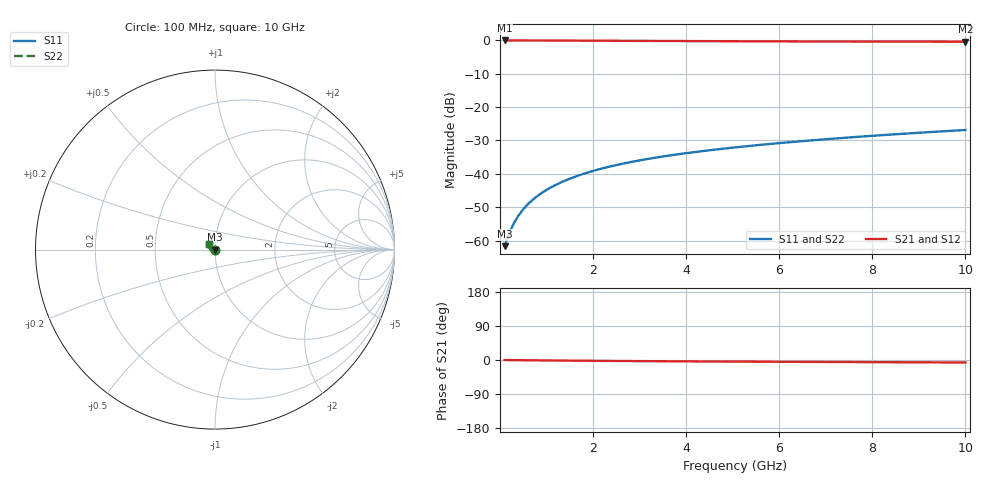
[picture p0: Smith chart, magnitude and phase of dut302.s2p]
! Touchstone file exported from HFSS 2024.1.0
!  File:  C:/UserFiles/LocalFiles/RDL_TSV_Batchsim/temp_TSV1_302_1779614857.aedt
!  Generated:  05:34:21 PM May 24, 2026
!  Design:  TSV1
!  Project:  temp_TSV1_302_1779614857
!  Setup:  Setup1
!  Solution:  Sweep
! Variables:
!  dtsv = 5.18um
!  hbump = 3um
!  htsv = 98.82um
!  lrdl = 252.1521522um
!  p = 40
!  p1 = 48.7um
!  t = 500um
!  trdl = 3um
!  wrdl = 24.89489489um
# GHz S MA R 50.000000
! Terminal data exported
! Port[1] = TSV22_T1
! Port[2] = TSV22_T2
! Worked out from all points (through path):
!   100 points, 100 MHz to 10 GHz, reference 50 ohm
!   highest |S21| = -0.01 dB at 100 MHz (marker M1); lowest = -0.4 dB at 10 GHz (marker M2)
!   lowest |S11| = -61.7 dB at 100 MHz (marker M3), VSWR 1.00, Z = 50.1 - j0.059 ohm
!   |S11| at or under -10 dB: start of sweep to end of sweep
!   |S22| runs from -61.7 to -26.9 dB; largest |S21 - S12| = 3.2e-15
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0.1  0.0008228 -45.8  0.9994 -0.1  0.9994 -0.1  0.0008228 -45.8
! Gamma 0 0 0 0
! Port Impedance 50 0 50 0
0.2  0.001295 -66.9  0.9993 -0.2  0.9993 -0.2  0.001295 -66.9
0.3  0.001828 -77.7  0.9992 -0.4  0.9992 -0.4  0.001828 -77.7
0.4  0.002379 -84.7  0.999 -0.5  0.999 -0.5  0.002379 -84.7
0.5  0.002938 -89.9  0.9988 -0.6  0.9988 -0.6  0.002938 -89.9
0.6  0.003499 -94.1  0.9985 -0.7  0.9985 -0.7  0.003499 -94.1
0.7  0.00406 -97.8  0.9982 -0.8  0.9982 -0.8  0.00406 -97.8
0.8  0.00462 -101.2  0.9978 -0.9  0.9978 -0.9  0.00462 -101.2
0.9  0.005178 -104.3  0.9975 -1.0  0.9975 -1.0  0.005178 -104.3
1  0.005732 -107.3  0.997 -1.1  0.997 -1.1  0.005732 -107.3
1.2  0.006831 -112.7  0.9961 -1.4  0.9961 -1.4  0.006831 -112.7
1.5  0.008449 -120.3  0.9945 -1.7  0.9945 -1.7  0.008449 -120.3
1.8  0.01002 -127.3  0.9926 -1.9  0.9926 -1.9  0.01002 -127.3
2.1  0.01156 -133.8  0.9906 -2.2  0.9906 -2.2  0.01156 -133.8
2.5  0.01353 -141.9  0.9879 -2.6  0.9879 -2.6  0.01353 -141.9
2.9  0.01544 -149.4  0.9851 -2.9  0.9851 -2.9  0.01544 -149.4
3.4  0.01773 -158.0  0.9818 -3.2  0.9818 -3.2  0.01773 -158.0
4.2  0.02126 -170.1  0.9769 -3.7  0.9769 -3.7  0.02126 -170.1
5.1  0.02509 178.4  0.9722 -4.2  0.9722 -4.2  0.02509 178.4
6.7  0.03175 162.3  0.9658 -5.0  0.9658 -5.0  0.03175 162.3
8.4  0.03878 149.4  0.961 -5.8  0.961 -5.8  0.03878 149.4
10  0.04542 140.1  0.9577 -6.6  0.9577 -6.6  0.04542 140.1
